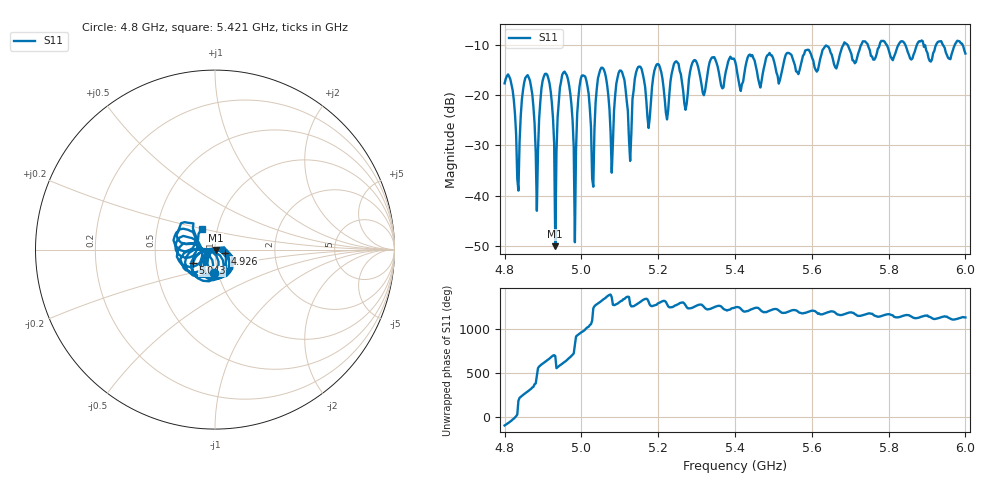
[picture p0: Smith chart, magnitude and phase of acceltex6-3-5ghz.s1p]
! NanoVNA-App
! Date: 2026-05-15 12:11:28
! Start: 4.8GHz Stop: 6GHz Points: 401
! S-Parameter data: F S11
# Hz S RI R 50
!  Frequency  S11_Real  S11_Imag
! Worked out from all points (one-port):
!   401 points, 4.8 GHz to 6 GHz, reference 50 ohm
!   lowest |S11| = -50.0 dB at 4.932 GHz (marker M1), VSWR 1.01, Z = 50.3 - j0.144 ohm
!   |S11| at or under -10 dB: start of sweep to 5.683 GHz; 5.692 GHz to 5.729 GHz (37 MHz wide, 0.648 % of centre); 5.891 GHz to 5.924 GHz (33.3 MHz wide, 0.564 % of centre)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
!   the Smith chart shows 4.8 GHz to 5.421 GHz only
!   S11 on the Smith chart (normalised r, x): 4.8 GHz: 0.95, -0.25; 4.926 GHz: 1.12, -0.05; 5.043 GHz: 0.77, -0.12; 5.421 GHz: 0.84, +0.19
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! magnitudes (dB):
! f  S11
! 4.8 GHz  -17.7
! 4.836 GHz  -39.0
! 4.863 GHz  -16.5
! 4.884 GHz  -42.9
! 4.911 GHz  -16.0
! 4.926 GHz  -24.6
! 4.932 GHz  -50.0
! 4.95 GHz  -16.0
! 4.983 GHz  -49.2
! 5.001 GHz  -16.2
! 5.028 GHz  -36.6
! 5.043 GHz  -16.7
! 5.061 GHz  -15.5
! 5.079 GHz  -35.4
! 5.1 GHz  -15.2
! 5.124 GHz  -29.0
! 5.148 GHz  -14.4
! 5.175 GHz  -26.5
! 5.196 GHz  -13.9
! 5.223 GHz  -24.8
! 5.25 GHz  -13.6
! 5.271 GHz  -22.9
! 5.4 GHz  -13.3
! 5.421 GHz  -17.4
! 5.55 GHz  -12.8
! 5.7 GHz  -11.3
! 5.85 GHz  -11.5
! 6 GHz  -11.8
